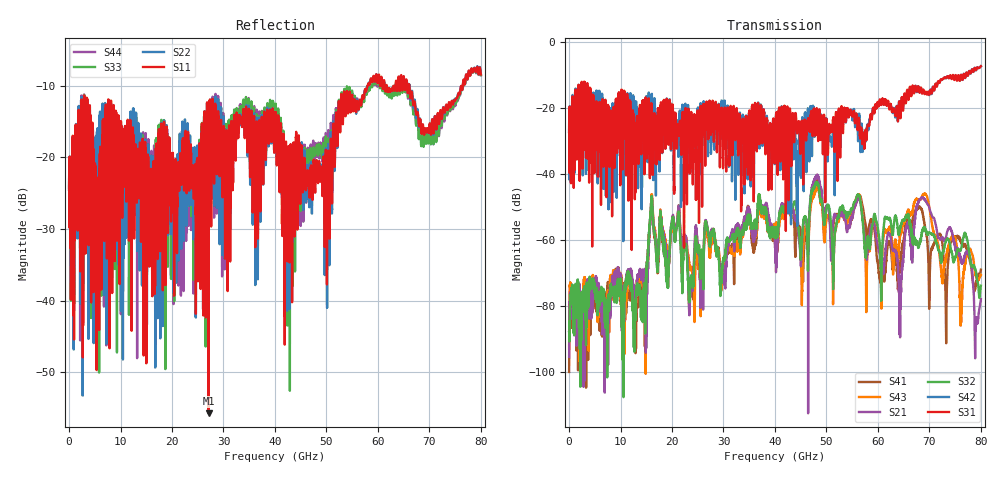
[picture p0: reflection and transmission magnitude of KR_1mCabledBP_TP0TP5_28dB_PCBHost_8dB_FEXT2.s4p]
!! Reference: shanbhag_3dj_02_2305.pdf
!! CHANNEL DESCRIPTION: TP0_TP5 KR Channel using 1meter Cabled BP, PCB Host
!! CABLE DESCRIPTION: 1meter 26AWG Cable
!! MODEL STATUS: Developmental
!! PORT DEFINITIONS:
!! Port  1  ----->  Side A  Side B  <-----  Port  2
!! Port  3  ----->  Side A  Side B  <-----  Port  4
# HZ S MA R 50.000000
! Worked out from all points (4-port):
!   8000 points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, 10 MHz to 80 GHz, reference 50 ohm
!   strongest paths, dB at 10 MHz, 20.01 GHz, 40.01 GHz, 60.01 GHz, 80 GHz:
!     S31: -27.3, -23.4, -33.6, -18.3, -7.3
!     S42: -27.2, -22.7, -31.4, -18.9, -7.4
!     S32: -88.0, -54.3, -58.4, -56.8, -73.9
!     S21: -95.5, -54.1, -62.4, -62.1, -78.1
!     S43: -93.0, -55.1, -57.2, -58.4, -70.7
!     S41: -100.1, -55.2, -61.3, -67.3, -69.1
!   lowest |S11| = -55.8 dB at 27.09 GHz (marker M1), VSWR 1.00, Z = 49.9 - j0.119 ohm
!   |S11| at or under -10 dB: start of sweep to 57.97 GHz; 61.72 GHz to 63.01 GHz (1.297 GHz wide, 2.08 % of centre); 66.11 GHz to 76.17 GHz (10.05 GHz wide, 14.1 % of centre) (the widest 3 of 13)
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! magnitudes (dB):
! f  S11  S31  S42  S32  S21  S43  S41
! 10 MHz  -24.5  -27.3  -27.2  -88.0  -95.5  -93.0  -100.1
! 27.09 GHz  -55.8  -22.5  -25.9  -58.8  -58.4  -61.0  -58.8
! 45.49 GHz  -24.4  -40.6  -28.0  -54.9  -55.7  -62.1  -70.2
! 48.17 GHz  -21.0  -20.9  -26.0  -42.7  -40.5  -44.2  -41.5
! 64.32 GHz  -10.1  -22.2  -22.1  -56.4  -86.2  -58.2  -67.2
! 68.71 GHz  -15.4  -14.9  -15.2  -56.6  -47.2  -46.4  -52.1
! 80 GHz  -8.4  -7.3  -7.4  -73.9  -78.1  -70.7  -69.1
